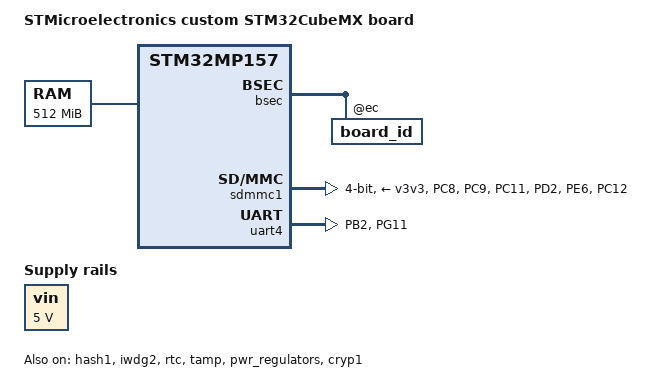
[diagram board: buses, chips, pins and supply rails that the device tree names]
/* SPDX-License-Identifier: (GPL-2.0+ OR BSD-3-Clause) */
/*
 * Copyright (C) STMicroelectronics 2021 - All Rights Reserved
 * Author: STM32CubeMX code generation for STMicroelectronics.
 */

/* For more information on Device Tree configuration, please refer to
 * https://wiki.st.com/stm32mpu/wiki/Category:Device_tree_configuration
 */

/dts-v1/;
#include <dt-bindings/pinctrl/stm32-pinfunc.h>
#include <dt-bindings/clock/stm32mp1-clksrc.h>
#include <dt-bindings/soc/st,stm32-etzpc.h>
#include "stm32mp15-mx.dtsi"

#include "stm32mp157.dtsi"
#include "stm32mp15xf.dtsi"
#include "stm32mp15xxab-pinctrl.dtsi"
#include "stm32mp15-ddr.dtsi"

/* USER CODE BEGIN includes */
#include <dt-bindings/power/stm32mp1-power.h>
/* USER CODE END includes */

/ {
	model = "STMicroelectronics custom STM32CubeMX board";
	compatible = "st,stm32mp157f-mp157f_breakout-mx", "st,stm32mp157";

	/* USER CODE BEGIN root */
	memory@c0000000{
		device_type = "memory";
		reg = <0xc0000000 0x20000000>;
	};

	vin:vin{
		compatible = "regulator-fixed";
		regulator-name = "vin";
		regulator-min-microvolt = <5000000>;
		regulator-max-microvolt = <5000000>;
		regulator-always-on;
	};

	aliases{
		serial0 = &uart4;
	};

	chosen{
		stdout-path = "serial0:115200n8";
	};
	/* USER CODE END root */

	clocks {
		/* USER CODE BEGIN clocks */
		/* USER CODE END clocks */

		clk_lse: clk-lse {

			/* USER CODE BEGIN clk_lse */
			/* USER CODE END clk_lse */
		};

		clk_hse: clk-hse {

			/* USER CODE BEGIN clk_hse */
			/* USER CODE END clk_hse */
		};
	};

}; /*root*/

&pinctrl {
	sdmmc1_pins_mx: sdmmc1_mx-0 {
		pins1 {
			pinmux = <STM32_PINMUX('C', 8, AF12)>, /* SDMMC1_D0 */
					 <STM32_PINMUX('C', 9, AF12)>, /* SDMMC1_D1 */
					 <STM32_PINMUX('C', 11, AF12)>, /* SDMMC1_D3 */
					 <STM32_PINMUX('D', 2, AF12)>, /* SDMMC1_CMD */
					 <STM32_PINMUX('E', 6, AF8)>; /* SDMMC1_D2 */
			bias-disable;
			drive-push-pull;
			slew-rate = <1>;
		};
		pins2 {
			pinmux = <STM32_PINMUX('C', 12, AF12)>; /* SDMMC1_CK */
			bias-disable;
			drive-push-pull;
			slew-rate = <3>;
		};
	};

	uart4_pins_mx: uart4_mx-0 {
		pins1 {
			pinmux = <STM32_PINMUX('B', 2, AF8)>; /* UART4_RX */
			bias-disable;
		};
		pins2 {
			pinmux = <STM32_PINMUX('G', 11, AF6)>; /* UART4_TX */
			bias-disable;
			drive-push-pull;
			slew-rate = <0>;
		};
	};

	/* USER CODE BEGIN pinctrl */
	/* USER CODE END pinctrl */
};

&pinctrl_z {
	/* USER CODE BEGIN pinctrl_z */
	/* USER CODE END pinctrl_z */
};

&rcc {
	st,csi-cal;
	st,hsi-cal;
	st,cal-sec = <60>;
	st,clksrc = <
		CLK_MPU_PLL1P
		CLK_AXI_PLL2P
		CLK_MCU_PLL3P
		CLK_PLL12_HSI
		CLK_PLL3_HSI
		CLK_PLL4_HSI
		CLK_RTC_LSI
		CLK_MCO1_DISABLED
		CLK_MCO2_DISABLED
	>;
	st,clkdiv = <
		1 		/*MPU*/
		0 		/*AXI*/
		0 		/*MCU*/
		1 		/*APB1*/
		1 		/*APB2*/
		1 		/*APB3*/
		1 		/*APB4*/
		2 		/*APB5*/
		0 		/*RTC*/
		0 		/*MCO1*/
		0 		/*MCO2*/
	>;
	st,pkcs = <
		CLK_CKPER_DISABLED
		CLK_ETH_DISABLED
		CLK_SDMMC12_PLL4P
		CLK_STGEN_HSI
		CLK_USBPHY_DISABLED
		CLK_SPI2S1_DISABLED
		CLK_SPI2S23_DISABLED
		CLK_SPI45_DISABLED
		CLK_SPI6_DISABLED
		CLK_I2C46_DISABLED
		CLK_SDMMC3_DISABLED
		CLK_ADC_DISABLED
		CLK_CEC_DISABLED
		CLK_I2C12_DISABLED
		CLK_I2C35_DISABLED
		CLK_UART1_DISABLED
		CLK_UART24_HSI
		CLK_UART35_DISABLED
		CLK_UART6_DISABLED
		CLK_UART78_DISABLED
		CLK_SPDIF_DISABLED
		CLK_SAI1_DISABLED
		CLK_SAI2_DISABLED
		CLK_SAI3_DISABLED
		CLK_SAI4_DISABLED
		CLK_LPTIM1_DISABLED
		CLK_LPTIM23_DISABLED
		CLK_LPTIM45_DISABLED
	>;
	pll1:st,pll@0 {
		compatible = "st,stm32mp1-pll";
		reg = <0>;
		cfg = < 3 49 0 1 1 PQR(1,0,0) >;
	};
	pll2:st,pll@1 {
		compatible = "st,stm32mp1-pll";
		reg = <1>;
		cfg = < 3 32 1 1 0 PQR(1,0,1) >;
		frac = < 0xa00 >;
	};
	pll3:st,pll@2 {
		compatible = "st,stm32mp1-pll";
		reg = <2>;
		cfg = < 3 24 1 1 1 PQR(1,0,0) >;
	};
	pll4:st,pll@3 {
		compatible = "st,stm32mp1-pll";
		reg = <3>;
		cfg = < 3 29 4 1 1 PQR(1,0,0) >;
		frac = < 0x1e00 >;
	};
};

&bsec{
	status = "okay";
	secure-status = "okay";

	/* USER CODE BEGIN bsec */
	board_id:board_id@ec{
		reg = <0xec 0x4>;
		st,non-secure-otp;
	};
	/* USER CODE END bsec */
};

&etzpc{
	st,decprot = <
	/*"Non Secured" peripherals*/
	DECPROT(STM32MP1_ETZPC_DMA1_ID, DECPROT_NS_RW, DECPROT_UNLOCK)
	DECPROT(STM32MP1_ETZPC_DMAMUX_ID, DECPROT_NS_RW, DECPROT_UNLOCK)
	DECPROT(STM32MP1_ETZPC_HASH1_ID, DECPROT_NS_RW, DECPROT_UNLOCK)
	DECPROT(STM32MP1_ETZPC_UART4_ID, DECPROT_NS_RW, DECPROT_UNLOCK)
	/*"Secured" peripherals*/
	DECPROT(STM32MP1_ETZPC_DDRCTRL_ID, DECPROT_S_RW, DECPROT_UNLOCK)
	DECPROT(STM32MP1_ETZPC_DDRPHYC_ID, DECPROT_S_RW, DECPROT_UNLOCK)
	DECPROT(STM32MP1_ETZPC_STGENC_ID, DECPROT_S_RW, DECPROT_UNLOCK)
	/*"Mcu Isolation" peripherals*/
	DECPROT(STM32MP1_ETZPC_DMA2_ID, DECPROT_MCU_ISOLATION, DECPROT_UNLOCK)

	/*Restriction: following IDs are not managed  - please to use User-Section if needed:
		STM32MP1_ETZPC_SRAMx_ID, STM32MP1_ETZPC_RETRAM_ID, STM32MP1_ETZPC_BKPSRAM_ID*/

	/* USER CODE BEGIN etzpc_decprot */
		/*STM32CubeMX generates a basic and standard configuration for ETZPC.
		Additional device configurations can be added here if needed.
		"etzpc" node could be also overloaded in "addons" User-Section.*/
	/* USER CODE END etzpc_decprot */
	>;

	secure-status = "okay";

	/* USER CODE BEGIN etzpc */
	/* USER CODE END etzpc */
};

&hash1{
	status = "okay";

	/* USER CODE BEGIN hash1 */
	/* USER CODE END hash1 */
};

&iwdg2{
	status = "okay";
	secure-status = "okay";

	/* USER CODE BEGIN iwdg2 */
	timeout-sec = <32>;
	/* USER CODE END iwdg2 */
};

&rcc{
	status = "okay";
	secure-status = "okay";

	/* USER CODE BEGIN rcc */
	/* USER CODE END rcc */
};

&rtc{
	status = "okay";
	secure-status = "okay";

	/* USER CODE BEGIN rtc */
	/* USER CODE END rtc */
};

&sdmmc1{
	pinctrl-names = "default";
	pinctrl-0 = <&sdmmc1_pins_mx>;
	status = "okay";

	/* USER CODE BEGIN sdmmc1 */
	disable-wp;
	st,neg-edge;
	bus-width = <4>; 
	vmmc-supply = <&v3v3>;
	/* USER CODE END sdmmc1 */
};

&tamp{
	status = "okay";
	secure-status = "okay";

	/* USER CODE BEGIN tamp */
	/* USER CODE END tamp */
};

&uart4{
	pinctrl-names = "default";
	pinctrl-0 = <&uart4_pins_mx>;
	status = "okay";

	/* USER CODE BEGIN uart4 */
	/* USER CODE END uart4 */
};

/* USER CODE BEGIN addons */

&pwr_regulators{
	status = "okay";
	secure-status = "okay";

	/* USER CODE BEGIN pwr_regulators */
	system_suspend_supported_soc_modes = <
		STM32_PM_CSLEEP_RUN
		STM32_PM_CSTOP_ALLOW_LP_STOP
		STM32_PM_CSTOP_ALLOW_STANDBY_DDR_SR
	>;
	system_off_soc_mode = <STM32_PM_CSTOP_ALLOW_STANDBY_DDR_OFF>;
	vdd-supply = <&vdd>;
	vdd_3v3_usbfs-supply = <&vdd_usb>;
	/* USER CODE END pwr_regulators */
};
&cpu0{
	cpu-supply = <&vddcore>;
};

&cpu1{
	cpu-supply = <&vddcore>;
};

&nvmem_layout{
	nvmem-cells = <&cfg0_otp>,

			<&part_number_otp>, 
			<&monotonic_otp>, 
			<&nand_otp>, 
			<&uid_otp>, 
			<&package_otp>, 
			<&hw2_otp>, 
			<&pkh_otp>, 
			<&board_id>;
	nvmem-cell-names= "cfg0_otp", 
			"part_number_otp",
			"monotonic_otp", 
			"nand_otp", 
			"uid_otp", 
			"package_otp", 
			"hw 2_otp", 
			"pkh_otp",
			"board_id";

};

&cryp1{
	status = "okay";

	/* USER CODE BEGIN cryp1 */
	/* USER CODE END cryp1 */
};

/* USER CODE END addons */

